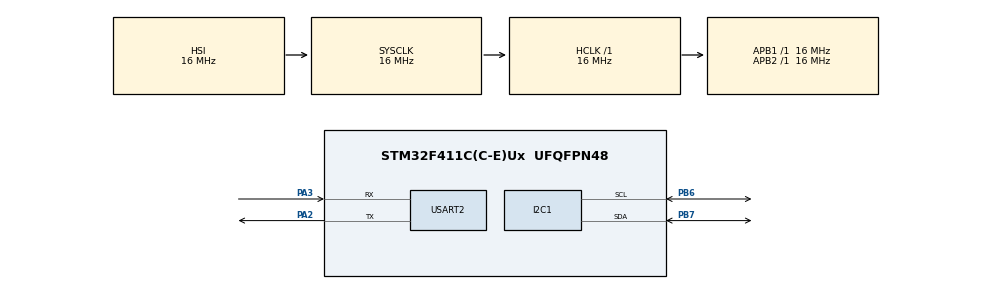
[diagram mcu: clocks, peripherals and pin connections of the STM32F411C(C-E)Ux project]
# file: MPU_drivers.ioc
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Mcu.Family=STM32F4
Mcu.Name=STM32F411C(C-E)Ux
Mcu.Package=UFQFPN48
NVIC.PriorityGroup=NVIC_PRIORITYGROUP_4
PA2.Mode=Asynchronous
PA2.Signal=USART2_TX
PA3.Mode=Asynchronous
PA3.Signal=USART2_RX
PB6.Mode=I2C
PB6.Signal=I2C1_SCL
PB7.Mode=I2C
PB7.Signal=I2C1_SDA
ProjectManager.HeapSize=0x200
ProjectManager.StackSize=0x400
ProjectManager.TargetToolchain=STM32CubeIDE
RCC.AHBFreq_Value=16000000
RCC.APB1Freq_Value=16000000
RCC.APB2Freq_Value=16000000
RCC.CortexFreq_Value=16000000
RCC.HSE_VALUE=25000000
RCC.HSI_VALUE=16000000
RCC.LSE_VALUE=32768
RCC.SYSCLKFreq_VALUE=16000000
RCC.VCOOutputFreq_Value=192000000
USART2.VirtualMode=VM_ASYNC
board=custom

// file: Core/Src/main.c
/* USER CODE BEGIN Header */
/**
  ******************************************************************************
  * @file           : main.c
  * @brief          : Main program body
  ******************************************************************************
  * @attention
  *
  * Copyright (c) 2025 STMicroelectronics.
  * All rights reserved.
  *
  * This software is licensed under terms that can be found in the LICENSE file
  * in the root directory of this software component.
  * If no LICENSE file comes with this software, it is provided AS-IS.
  *
  ******************************************************************************
  */
/* USER CODE END Header */
#include "main.h"

/* USER CODE BEGIN Includes */
#include "mpu6500.h"
#include <stdio.h>
#include <stdarg.h>
/* USER CODE END Includes */

I2C_HandleTypeDef hi2c1;

UART_HandleTypeDef huart2;

/* USER CODE BEGIN PV */
extern I2C_HandleTypeDef hi2c1;
extern UART_HandleTypeDef huart2;
/* USER CODE END PV */

void SystemClock_Config(void);
static void MX_GPIO_Init(void);
static void MX_I2C1_Init(void);
static void MX_USART2_UART_Init(void);

/* USER CODE BEGIN 0 */
void uart_printf(const char *fmt, ...) {
    char buffer[128];
    va_list args;
    va_start(args, fmt);
    int len = vsnprintf(buffer, sizeof(buffer), fmt, args);
    va_end(args);
    if (len > 0) {
        HAL_UART_Transmit(&huart2, (uint8_t*)buffer, len, HAL_MAX_DELAY);
    }
}
/* USER CODE END 0 */

int main(void)
{

  /* MCU Configuration--------------------------------------------------------*/

  /* Reset of all peripherals, Initializes the Flash interface and the Systick. */
  HAL_Init();

  /* Configure the system clock */
  SystemClock_Config();

  /* Initialize all configured peripherals */
  MX_GPIO_Init();
  MX_I2C1_Init();
  MX_USART2_UART_Init();
  /* USER CODE BEGIN 2 */
  MX_USART2_UART_Init();
  mpu6500_axis_t accel, gyro;
  uint8_t whoami = 0;
  HAL_StatusTypeDef mpu_status;

  // --- MPU6500 Initialization ---
  mpu_status = mpu6500_init(&hi2c1);

  uart_printf("MPU6500 Example Start\r\n");

  if (mpu_status == HAL_OK) {
          mpu6500_get_whoami(&hi2c1, &whoami);
          uart_printf("WHO_AM_I: 0x%02X\r\n", whoami);

          if (whoami == 0x70) {
              uart_printf("MPU6500 detected!\r\n");
              mpu6500_set_accel_range(&hi2c1, MPU6500_ACCEL_2G);
              mpu6500_set_gyro_range(&hi2c1, MPU6500_GYRO_250);
          } else {
              uart_printf("MPU6500 not detected. Check wiring.\r\n");
              while (1); // Stop here if not detected
          }
      } else {
          uart_printf("MPU6500 init failed!\r\n");
          while (1); // Stop here if init failed
      }
  /* USER CODE END 2 */

  /* Infinite loop */
  while (1)
  {

    /* USER CODE BEGIN 3 */
	  if (mpu6500_read_accel(&hi2c1, &accel) == HAL_OK &&
	              mpu6500_read_gyro(&hi2c1, &gyro) == HAL_OK) {
	              uart_printf("ACCEL: X=%d Y=%d Z=%d | GYRO: X=%d Y=%d Z=%d\r\n",
	                  accel.x, accel.y, accel.z, gyro.x, gyro.y, gyro.z);
	          } else {
	              uart_printf("Sensor read error!\r\n");
	          }
	          HAL_Delay(200);
  }
  /* USER CODE END 3 */
}

void SystemClock_Config(void)
{
  RCC_OscInitTypeDef RCC_OscInitStruct = {0};
  RCC_ClkInitTypeDef RCC_ClkInitStruct = {0};

  /** Configure the main internal regulator output voltage
  */
  __HAL_RCC_PWR_CLK_ENABLE();
  __HAL_PWR_VOLTAGESCALING_CONFIG(PWR_REGULATOR_VOLTAGE_SCALE1);

  /** Initializes the RCC Oscillators according to the specified parameters
  * in the RCC_OscInitTypeDef structure.
  */
  RCC_OscInitStruct.OscillatorType = RCC_OSCILLATORTYPE_HSI;
  RCC_OscInitStruct.HSIState = RCC_HSI_ON;
  RCC_OscInitStruct.HSICalibrationValue = RCC_HSICALIBRATION_DEFAULT;
  RCC_OscInitStruct.PLL.PLLState = RCC_PLL_NONE;
  if (HAL_RCC_OscConfig(&RCC_OscInitStruct) != HAL_OK)
  {
    Error_Handler();
  }

  /** Initializes the CPU, AHB and APB buses clocks
  */
  RCC_ClkInitStruct.ClockType = RCC_CLOCKTYPE_HCLK|RCC_CLOCKTYPE_SYSCLK
                              |RCC_CLOCKTYPE_PCLK1|RCC_CLOCKTYPE_PCLK2;
  RCC_ClkInitStruct.SYSCLKSource = RCC_SYSCLKSOURCE_HSI;
  RCC_ClkInitStruct.AHBCLKDivider = RCC_SYSCLK_DIV1;
  RCC_ClkInitStruct.APB1CLKDivider = RCC_HCLK_DIV1;
  RCC_ClkInitStruct.APB2CLKDivider = RCC_HCLK_DIV1;

  if (HAL_RCC_ClockConfig(&RCC_ClkInitStruct, FLASH_LATENCY_0) != HAL_OK)
  {
    Error_Handler();
  }
}

static void MX_I2C1_Init(void)
{

  hi2c1.Instance = I2C1;
  hi2c1.Init.ClockSpeed = 100000;
  hi2c1.Init.DutyCycle = I2C_DUTYCYCLE_2;
  hi2c1.Init.OwnAddress1 = 0;
  hi2c1.Init.AddressingMode = I2C_ADDRESSINGMODE_7BIT;
  hi2c1.Init.DualAddressMode = I2C_DUALADDRESS_DISABLE;
  hi2c1.Init.OwnAddress2 = 0;
  hi2c1.Init.GeneralCallMode = I2C_GENERALCALL_DISABLE;
  hi2c1.Init.NoStretchMode = I2C_NOSTRETCH_DISABLE;
  if (HAL_I2C_Init(&hi2c1) != HAL_OK)
  {
    Error_Handler();
  }

}

static void MX_USART2_UART_Init(void)
{

  huart2.Instance = USART2;
  huart2.Init.BaudRate = 115200;
  huart2.Init.WordLength = UART_WORDLENGTH_8B;
  huart2.Init.StopBits = UART_STOPBITS_1;
  huart2.Init.Parity = UART_PARITY_NONE;
  huart2.Init.Mode = UART_MODE_TX_RX;
  huart2.Init.HwFlowCtl = UART_HWCONTROL_NONE;
  huart2.Init.OverSampling = UART_OVERSAMPLING_16;
  if (HAL_UART_Init(&huart2) != HAL_OK)
  {
    Error_Handler();
  }

}

static void MX_GPIO_Init(void)
{

  /* GPIO Ports Clock Enable */
  __HAL_RCC_GPIOA_CLK_ENABLE();
  __HAL_RCC_GPIOB_CLK_ENABLE();

}

void Error_Handler(void)
{
  __disable_irq();
  while (1)
  {
  }
}
